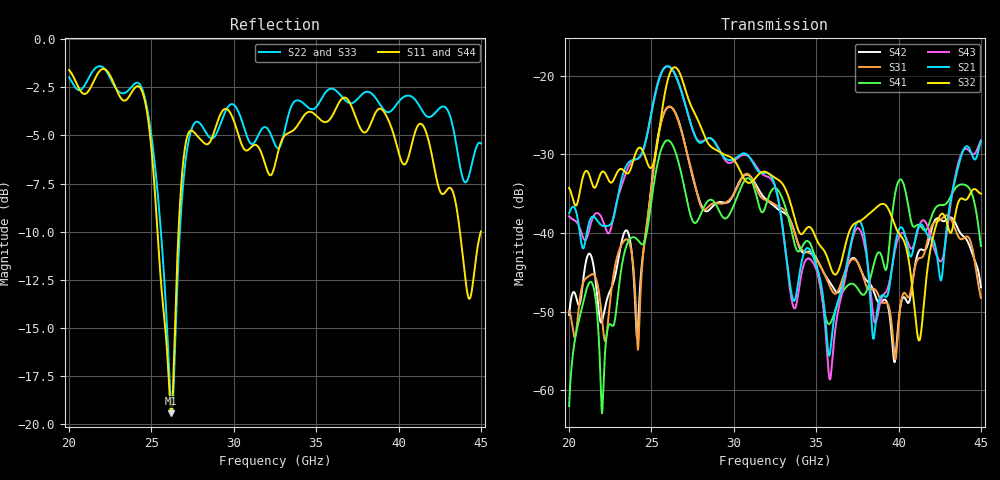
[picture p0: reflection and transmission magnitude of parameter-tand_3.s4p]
! TOUCHSTONE file generated by CST MICROWAVE STUDIO
! Date and time: Fri Jun  7 21:43:29 2024
! Project name: Final_26GHz_linear.cst
! Parameters = {tand=0.003922; Connector_spacing=15.33; Coplanar_gap=0.425; Distance_inner=4.78238; Distance_outer=14.3471; L=2.6; L_pad=5; Length_strip_inner=24.3248; Length_strip_outer=27.8328; Pad_via_diameter=2.1; Pad_via_x_centre=3.75; Pad_via_z_centre=2.8; Patch_spacing=5.76524; Via_diameter=0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
! Header version: 2024
! Port assignment regex: !\s*Touchstone port\s*([0-9]+)\s*=\s*(CST MWS port|CST DES external port|CST DES block port)\s*(.+)\s* \(\"(.*)\"\)(\s*mode\s*([0-9]+))?.*
! Touchstone port assignment:
! Touchstone port 1 = CST MWS port 1 ("")
! Touchstone port 2 = CST MWS port 2 ("")
! Touchstone port 3 = CST MWS port 3 ("")
! Touchstone port 4 = CST MWS port 4 ("")
# GHz S MA R 50
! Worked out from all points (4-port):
!   1001 points, 20 GHz to 45 GHz, reference 50 ohm
!   strongest paths, dB at 20 GHz, 26.25 GHz, 32.5 GHz, 38.75 GHz, 45 GHz:
!     S32: -34.3, -19.2, -33.0, -36.6, -35.0
!     S21: -37.5, -19.2, -34.0, -49.3, -28.3
!     S43: -37.9, -19.2, -34.1, -50.2, -28.2
!     S41: -62.0, -28.7, -34.3, -42.5, -41.6
!     S31: -49.9, -24.1, -36.4, -47.8, -48.2
!     S42: -50.4, -24.1, -36.7, -48.8, -46.9
!   lowest |S11| = -19.4 dB at 26.2 GHz (marker M1), VSWR 1.24, Z = 60.7 + j5.14 ohm
!   |S11| at or under -10 dB: 25.37 GHz to 26.64 GHz (1.275 GHz wide, 4.9 % of centre); 43.73 GHz to 45 GHz (1.269 GHz wide, 2.86 % of centre)
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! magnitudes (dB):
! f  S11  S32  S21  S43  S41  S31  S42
! 20 GHz  -1.6  -34.3  -37.5  -37.9  -62.0  -49.9  -50.4
! 24.2 GHz  -2.4  -29.2  -30.5  -30.5  -41.0  -54.5  -51.2
! 26.2 GHz  -19.4  -19.3  -19.1  -19.1  -28.6  -24.0  -24.0
! 35.83 GHz  -4.2  -44.0  -55.4  -58.6  -51.5  -46.8  -46.3
! 39.2 GHz  -3.9  -36.4  -48.1  -47.6  -44.7  -48.9  -48.5
! 41.25 GHz  -4.4  -53.7  -39.1  -39.2  -39.0  -43.2  -42.3
! 45 GHz  -10.0  -35.0  -28.3  -28.2  -41.6  -48.2  -46.9
